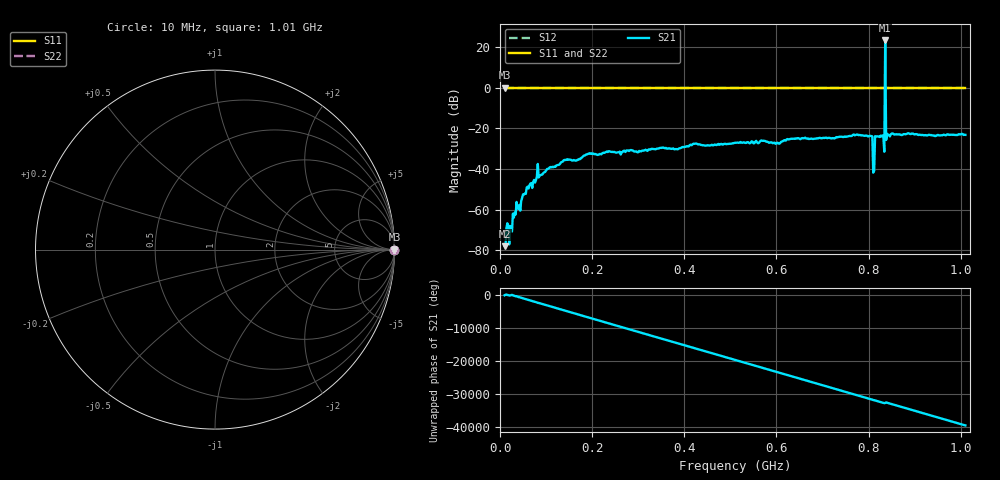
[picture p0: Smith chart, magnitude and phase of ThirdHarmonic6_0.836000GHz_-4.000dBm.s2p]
! 8/16/2025 3:43:27 AM
! C:\ANRITSUVNA\TEMP\TEMP.S2P
! CHANNEL.1
! TR.MEASUREMENT
! RAW.DATA
! RF.CORRECTION.OFF
! AVERAGING.OFF
! IF.BANDWIDTH: 5KHZ
! SWEEPTYPE:  FREQ.SWEEP(Linear)
! Reference Plane Port Info
! PORT:  PORT1  PORT2
! DISTANCE:  0  m  0  m
! TIME:  0  s  0  s
! PHASE.OFFSET:  0  deg.  0  deg.
! LOSS:  0  dB  0  dB
! REF.LOSS:  0  dB  0  dB
! REF.FREQ:  0  Hz  0  Hz
! Power Info
! POWER:  -20  dBm  -20  dBm
! EFF.POWER:  -20  dBm  -20  dBm
! SOURCE.ATTEN:  0  dB  0  dB
! TEST.ATTEN:  0  dB  0  dB
# GHZ S RI R 50.0
! FREQ.GHZ  S11RE  S11IM  S21RE  S21IM  S12RE  S12IM  S22RE  S22IM
!; PortSelection: Port_12
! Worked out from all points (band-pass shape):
!   501 points, 10 MHz to 1.01 GHz, reference 50 ohm
!   highest |S21| = 23.24 dB at 836 MHz (marker M1); lowest = -77.9 dB at 10 MHz (marker M2)
!   |S21| within 3 dB of the highest: 835.8904 MHz to 836.1226 MHz (232.2 kHz wide, 0.0278 % of centre)
!   lowest |S11| = 0.0 dB at 10 MHz (marker M3)
!   |S11| at or under -10 dB: nowhere
!   |S22| runs from 0.0 to 0.0 dB; largest |S21 - S12| = 15
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0.01  1 0  -0.000125 -2.06e-05  1 0  1 0
0.018  1 0  -0.000161 -0.000371  1 0  1 0
0.024  1 0  -0.00012 -0.000267  1 0  1 0
0.032  1 0  0.000786 0.000325  1 0  1 0
0.078  1 0  0.00139 -0.00515  1 0  1 0
0.142  1 0  -0.0154 -0.00631  1 0  1 0
0.178  1 0  -0.0187 -0.00469  1 0  1 0
0.344  1 0  0.0316 -0.00522  1 0  1 0
0.51  1 0  -0.042 0.0134  1 0  1 0
0.678  1 0  -0.0211 -0.0509  1 0  1 0
0.804  1 0  -0.0552 -0.0351  1 0  1 0
0.808  1 0  0.0391 0.05  1 0  1 0
0.812  1 0  -0.00213 -0.00882  1 0  1 0
0.814  1 0  -0.0632 0.0104  1 0  1 0
0.818  1 0  0.0625 0.0114  1 0  1 0
0.83  1 0  -0.0216 -0.0634  1 0  1 0
0.832  1 0  -0.063 0.0116  1 0  1 0
0.836  1 0  -11.9 8.31  1 0  1 0
0.84  1 0  -0.0644 -0.0354  1 0  1 0
0.842  1 0  -0.0415 0.0566  1 0  1 0
0.844  1 0  0.0471 0.0504  1 0  1 0
1.01  1 0  -0.0646 -0.0249  1 0  1 0
